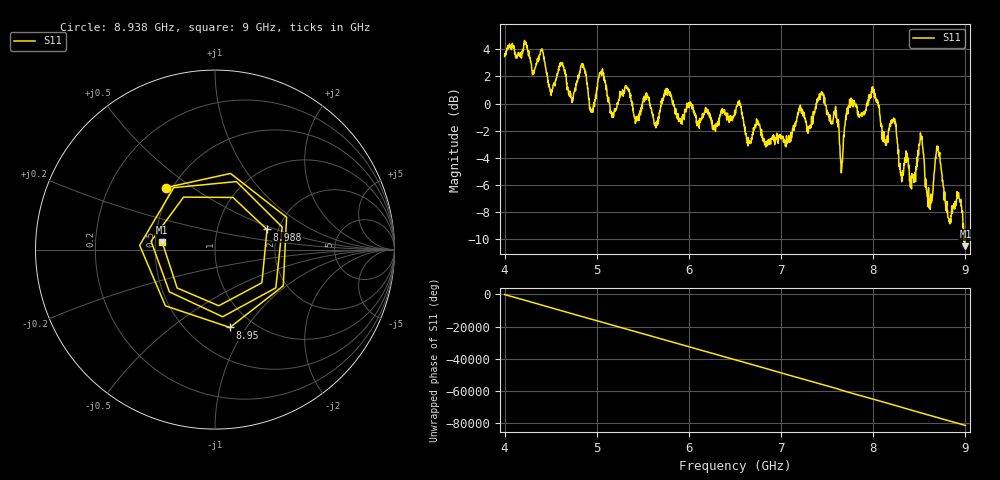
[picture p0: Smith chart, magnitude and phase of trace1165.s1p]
! Created with skrf 1.8.0 (http://scikit-rf.org).
# Hz S RI R 50.0
!freq ReS11 ImS11
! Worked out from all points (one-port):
!   1601 points, 4 GHz to 9 GHz, reference 50 ohm
!   lowest |S11| = -10.6 dB at 9 GHz (marker M1), VSWR 1.84, Z = 27.2 + j2.43 ohm
!   |S11| at or under -10 dB: 8.98318 GHz to 8.989782 GHz (6.602 MHz wide, 0.0735 % of centre); 8.992773 GHz to end of sweep
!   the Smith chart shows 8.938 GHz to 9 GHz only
!   S11 on the Smith chart (normalised r, x): 8.938 GHz: 0.46, +0.40; 8.95 GHz: 0.78, -0.84; 8.988 GHz: 1.75, +0.43; 9 GHz: 0.54, +0.05
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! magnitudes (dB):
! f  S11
! 4 GHz  3.5
! 4.403 GHz  4.0
! 4.503 GHz  0.7
! 4.625 GHz  2.9
! 4.722 GHz  0.4
! 4.853 GHz  2.8
! 4.944 GHz  -0.4
! 5.05 GHz  2.4
! 5.162 GHz  -0.9
! 5.25 GHz  0.9
! 5.875 GHz  -1.1
! 6.5 GHz  -0.9
! 6.65 GHz  -2.9
! 7.125 GHz  -1.9
! 7.438 GHz  0.9
! 7.659 GHz  -4.7
! 7.75 GHz  0.1
! 8.003 GHz  1.0
! 8.122 GHz  -2.9
! 8.375 GHz  -4.2
! 8.522 GHz  -2.6
! 8.619 GHz  -7.8
! 8.7 GHz  -3.4
! 8.822 GHz  -8.7
! 8.938 GHz  -7.1
! 8.95 GHz  -7.1
! 8.988 GHz  -10.2
! 9 GHz  -10.6
